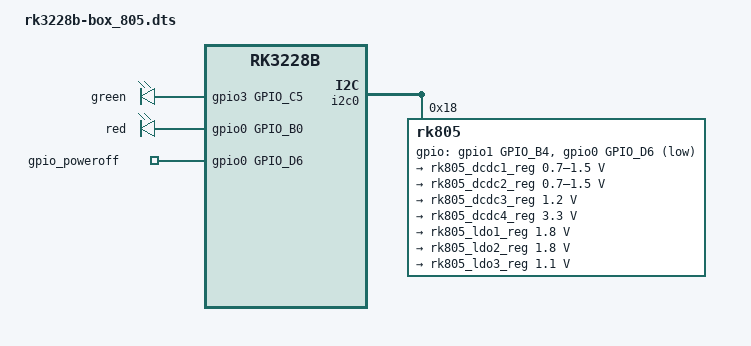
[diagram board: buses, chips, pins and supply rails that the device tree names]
/dts-v1/;

#include "rk3228b.dtsi"
#include "rk322x-sdk.dtsi"

/ {
	wireless-wlan {
		wifi_chip_type = "rtl8189es";
	};

	wireless-bluetooth {
		status = "disabled";
	};

	power-led {
		compatible = "gpio-leds";
		green {
			gpios = <&gpio3 GPIO_C5 GPIO_ACTIVE_HIGH>;
			default-state = "on";
		};
		red {
			gpios = <&gpio0 GPIO_B0 GPIO_ACTIVE_HIGH>;
			default-state = "off";
		};
	};

	pwm-regulator1  {
		status = "disabled";
	};

	pwm-regulator2 {
		status = "disabled";
	};

	/* rk805 pmic sleep/poweroff */
	gpio_poweroff {
		compatible = "gpio-poweroff";
		gpios = <&gpio0 GPIO_D6 GPIO_ACTIVE_HIGH>;
		status = "okay";
	};
};

&i2c0 {
	status = "okay";
	rk805: rk805@18 {
		reg = <0x18>;
		status = "okay";
	};
};

&clk_core_dvfs_table {
	operating-points = <
		/* KHz    uV */
		408000	950000
		600000	975000
		816000	1000000
		1008000	1175000
		1200000	1275000
		1296000	1325000
		1392000	1375000
		1464000	1400000
		>;
	status = "okay";
};

#include "rk805.dtsi"
&rk805 {
	gpios = <&gpio1 GPIO_B4 GPIO_ACTIVE_HIGH>,
		<&gpio0 GPIO_D6 GPIO_ACTIVE_LOW>;
	rk805,system-power-controller;
	gpio-controller;
	#gpio-cells = <2>;

	regulators {
		rk805_dcdc1_reg: regulator@0 {
			regulator-name = "vdd_arm";
			regulator-min-microvolt = <700000>;
			regulator-max-microvolt = <1500000>;
			regulator-initial-mode = <0x1>;
			regulator-initial-state = <3>;
			regulator-boot-on;
			regulator-always-on;
			regulator-state-mem {
				regulator-state-mode = <0x2>;
				regulator-state-enabled;
				regulator-state-uv = <950000>;
			};
		};

		rk805_dcdc2_reg: regulator@1 {
			regulator-name = "vdd_logic";
			regulator-min-microvolt = <700000>;
			regulator-max-microvolt = <1500000>;
			regulator-initial-mode = <0x1>;
			regulator-initial-state = <3>;
			regulator-boot-on;
			regulator-always-on;
			regulator-state-mem {
				regulator-state-mode = <0x2>;
				regulator-state-enabled;
				regulator-state-uv = <1000000>;
			};
		};

		rk805_dcdc3_reg: regulator@2 {
			regulator-name = "vcc_ddr";
			regulator-min-microvolt = <1200000>;
			regulator-max-microvolt = <1200000>;
			regulator-initial-mode = <0x1>;
			regulator-initial-state = <3>;
			regulator-boot-on;
			regulator-always-on;
			regulator-state-mem {
				regulator-state-mode = <0x2>;
				regulator-state-enabled;
				regulator-state-uv = <1200000>;
			};
		};

		rk805_dcdc4_reg: regulator@3 {
			regulator-name = "vcc_io";
			regulator-min-microvolt = <3300000>;
			regulator-max-microvolt = <3300000>;
			regulator-initial-mode = <0x1>;
			regulator-initial-state = <3>;
			regulator-boot-on;
			regulator-always-on;
			regulator-state-mem {
				regulator-state-mode = <0x2>;
				regulator-state-enabled;
				regulator-state-uv = <3300000>;
			};
		};

		rk805_ldo1_reg: regulator@4 {
			regulator-name = "rk805_ldo1";	/* vcca_18 */
			regulator-min-microvolt = <1800000>;
			regulator-max-microvolt = <1800000>;
			regulator-initial-state = <3>;
			regulator-boot-on;
			regulator-always-on;
			regulator-state-mem {
				regulator-state-enabled;
				regulator-state-uv = <1800000>;
			};
		};

		rk805_ldo2_reg: regulator@5 {
			regulator-name = "rk805_ldo2";	/* vcc_18 */
			regulator-min-microvolt = <1800000>;
			regulator-max-microvolt = <1800000>;
			regulator-initial-state = <3>;
			regulator-boot-on;
			regulator-always-on;
			regulator-state-mem {
				regulator-state-enabled;
				regulator-state-uv = <1800000>;
			};
		};

		rk805_ldo3_reg: regulator@6 {
			regulator-name = "rk805_ldo3";	/* vdd_11 */
			regulator-min-microvolt = <1100000>;
			regulator-max-microvolt = <1100000>;
			regulator-initial-state = <3>;
			regulator-boot-on;
			regulator-always-on;
			regulator-state-mem {
				regulator-state-enabled;
				regulator-state-uv = <1100000>;
			};
		};
	};
};

/* pmic overwrite */
&rockchip_suspend {
	rockchip,ctrbits = <
		(0
		 |RKPM_CTR_GTCLKS
		 |RKPM_CTR_PLLS
		 |RKPM_CTR_IDLESRAM_MD
		 |RKPM_CTR_PMIC
		)
	>;
};
